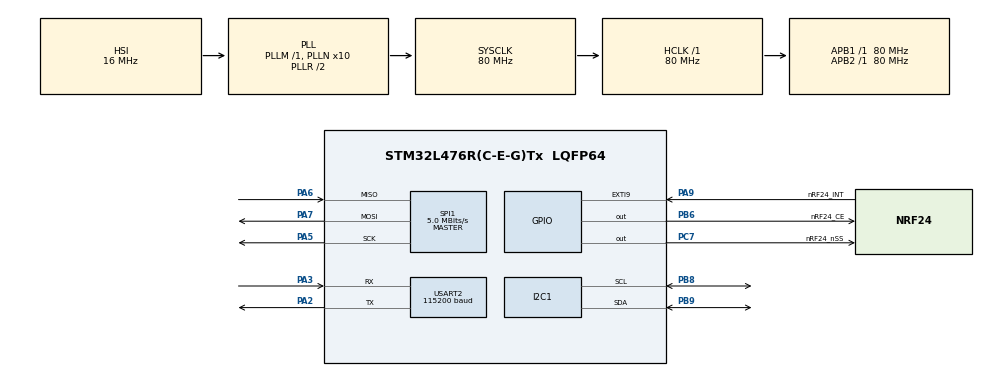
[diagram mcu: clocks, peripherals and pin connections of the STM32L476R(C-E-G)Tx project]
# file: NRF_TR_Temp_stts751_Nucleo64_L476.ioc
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Mcu.Family=STM32L4
Mcu.Name=STM32L476R(C-E-G)Tx
Mcu.Package=LQFP64
NVIC.EXTI9_5_IRQn=true\:0\:0\:false\:false\:true\:true\:true
NVIC.PriorityGroup=NVIC_PRIORITYGROUP_2
PA13\ (JTMS-SWDIO).Mode=Serial_Wire
PA13\ (JTMS-SWDIO).Signal=SYS_JTMS-SWDIO
PA14\ (JTCK-SWCLK).Mode=Serial_Wire
PA14\ (JTCK-SWCLK).Signal=SYS_JTCK-SWCLK
PA2.Mode=Asynchronous
PA2.Signal=USART2_TX
PA3.Mode=Asynchronous
PA3.Signal=USART2_RX
PA5.Mode=Full_Duplex_Master
PA5.Signal=SPI1_SCK
PA6.Mode=Full_Duplex_Master
PA6.Signal=SPI1_MISO
PA7.Mode=Full_Duplex_Master
PA7.Signal=SPI1_MOSI
PA9.GPIO_Label=nRF24_INT
PA9.GPIO_ModeDefaultEXTI=GPIO_MODE_IT_FALLING
PA9.Signal=GPXTI9
PB6.GPIO_Label=nRF24_CE
PB6.GPIO_ModeDefaultOutputPP=GPIO_MODE_OUTPUT_PP
PB6.GPIO_PuPd=GPIO_NOPULL
PB6.GPIO_Speed=GPIO_SPEED_FREQ_VERY_HIGH
PB6.PinState=GPIO_PIN_SET
PB6.Signal=GPIO_Output
PB8.Mode=I2C
PB8.Signal=I2C1_SCL
PB9.Mode=I2C
PB9.Signal=I2C1_SDA
PC7.GPIO_Label=nRF24_nSS
PC7.GPIO_ModeDefaultOutputPP=GPIO_MODE_OUTPUT_PP
PC7.GPIO_PuPd=GPIO_NOPULL
PC7.GPIO_Speed=GPIO_SPEED_FREQ_VERY_HIGH
PC7.PinState=GPIO_PIN_SET
PC7.Signal=GPIO_Output
ProjectManager.HeapSize=0x400
ProjectManager.StackSize=0x600
ProjectManager.TargetToolchain=STM32CubeIDE
RCC.ADCFreq_Value=64000000
RCC.AHBFreq_Value=80000000
RCC.APB1Freq_Value=80000000
RCC.APB1TimFreq_Value=80000000
RCC.APB2Freq_Value=80000000
RCC.APB2TimFreq_Value=80000000
RCC.CortexFreq_Value=80000000
RCC.HCLKFreq_Value=80000000
RCC.HSE_VALUE=8000000
RCC.HSI_VALUE=16000000
RCC.LSE_VALUE=32768
RCC.MSI_VALUE=4000000
RCC.PLLN=10
RCC.PLLSourceVirtual=RCC_PLLSOURCE_HSI
RCC.RCC_TIM_PRescaler_Selection=RCC_TIMPRES_DESACTIVATED
RCC.SYSCLKFreq_VALUE=80000000
RCC.SYSCLKSource=RCC_SYSCLKSOURCE_PLLCLK
RCC.USBFreq_Value=64000000
RCC.VCOOutputFreq_Value=160000000
SPI1.BaudRatePrescaler=SPI_BAUDRATEPRESCALER_16
SPI1.CLKPhase=SPI_PHASE_1EDGE
SPI1.CLKPolarity=SPI_POLARITY_LOW
SPI1.CRCCalculation=SPI_CRCCALCULATION_DISABLE
SPI1.CalculateBaudRate=5.0 MBits/s
SPI1.DataSize=SPI_DATASIZE_8BIT
SPI1.Direction=SPI_DIRECTION_2LINES
SPI1.FirstBit=SPI_FIRSTBIT_MSB
SPI1.Mode=SPI_MODE_MASTER
SPI1.NSS=SPI_NSS_SOFT
SPI1.TIMode=SPI_TIMODE_DISABLE
SPI1.VirtualType=VM_MASTER
USART2.BaudRate=115200
USART2.Mode=MODE_TX_RX
USART2.OverSampling=UART_OVERSAMPLING_16
USART2.Parity=PARITY_NONE
USART2.StopBits=STOPBITS_1
USART2.VirtualMode-Asynchronous=VM_ASYNC
USART2.WordLength=WORDLENGTH_8B
board=STM32F746G-DISCO

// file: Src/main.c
/* USER CODE BEGIN Header */
/**
  ******************************************************************************
  * @file           : main.c
  * @brief          : Main program body
  ******************************************************************************
  * @attention
  *
  * <h2><center>&copy; Copyright (c) 2020 STMicroelectronics.
  * All rights reserved.</center></h2>
  *
  * This software component is licensed by ST under BSD 3-Clause license,
  * the "License"; You may not use this file except in compliance with the
  * License. You may obtain a copy of the License at:
  *                        opensource.org/licenses/BSD-3-Clause
  *
  ******************************************************************************
  */
/* USER CODE END Header */

#include "main.h"
#include "i2c.h"
#include "spi.h"
#include "usart.h"
#include "gpio.h"

/* USER CODE BEGIN Includes */
#include <string.h>
#include <stdio.h>
#include "stts751_reg.h"
#include "nRF24L01P.h"
/* USER CODE END Includes */

/* USER CODE BEGIN PTD */
typedef union{
  int16_t i16bit;
  uint8_t u8bit[2];
} axis1bit16_t;
/* USER CODE END PTD */

/* USER CODE BEGIN PV */
static axis1bit16_t data_raw_temperature;
static float temperature_degC;
static stts751_id_t whoamI;
static char tx_buffer[5];

nRF24L01P myNRF;
const uint8_t RXAddr[5] = {0xE7, 0xE7, 0xE7, 0xE7, 0xE7};
const uint8_t TXAddr[5] = {0xE7, 0xE7, 0xE7, 0xE7, 0xE7};
//char TXData[5];

uint8_t RXBuffer[32], TXBuffer[32];
volatile uint8_t regStatus;
/* USER CODE END PV */

void SystemClock_Config(void);
/* USER CODE BEGIN PFP */
static int32_t platform_write(void *handle, uint8_t reg, uint8_t *bufp,
                              uint16_t len);
static int32_t platform_read(void *handle, uint8_t reg, uint8_t *bufp,
                             uint16_t len);
#ifdef __GNUC__
/* With GCC/RAISONANCE, small printf (option LD Linker->Libraries->Small printf
set to 'Yes') calls __io_putchar() */
#define PUTCHAR_PROTOTYPE int __io_putchar(int ch)
#else
#define PUTCHAR_PROTOTYPE int fputc(int ch, FILE *f)
#endif /* __GNUC__ */
/* USER CODE END PFP */

int main(void)
{
  /* USER CODE BEGIN 1 */
	stmdev_ctx_t dev_ctx;
	dev_ctx.write_reg = platform_write;
	dev_ctx.read_reg = platform_read;
	dev_ctx.handle = &hi2c1;
  /* USER CODE END 1 */

  /* MCU Configuration--------------------------------------------------------*/

  /* Reset of all peripherals, Initializes the Flash interface and the Systick. */
  HAL_Init();

  /* Configure the system clock */
  SystemClock_Config();

  /* Initialize all configured peripherals */
  MX_GPIO_Init();
  MX_SPI1_Init();
  MX_USART2_UART_Init();
  MX_I2C1_Init();
  /* USER CODE BEGIN 2 */
  stts751_device_id_get(&dev_ctx, &whoamI);

  if ( //(whoamI.product_id != STTS751_ID_0xxxx) ||
           (whoamI.product_id != STTS751_ID_1xxxx) ||
             (whoamI.manufacturer_id != STTS751_ID_MAN) ||
             (whoamI.revision_id != STTS751_REV) )
  	  while(1); /* manage here device not found */

   /* Enable interrupt on high(=49.5 degC)/low(=-4.5 degC) temperature. */
   float temperature_high_limit = 49.5f;
   stts751_high_temperature_threshold_set(&dev_ctx, stts751_from_celsius_to_lsb(temperature_high_limit));

   float temperature_low_limit = -4.5f;
   stts751_low_temperature_threshold_set(&dev_ctx, stts751_from_celsius_to_lsb(temperature_low_limit));

   stts751_pin_event_route_set(&dev_ctx,  PROPERTY_ENABLE);

   /* Set Output Data Rate */
   stts751_temp_data_rate_set(&dev_ctx, STTS751_TEMP_ODR_1Hz);

   /* Set Resolution */
   stts751_resolution_set(&dev_ctx, STTS751_11bit);

   myNRF.hspi = &hspi1;														// You should make this definition at CubeMX
   myNRF.CRC_Width = nRF_CRC_WIDTH_HALFWORD;
   myNRF.ADDR_Width = nRF_ADDR_WIDTH_5;
   myNRF.Data_Rate = nRF_DATA_RATE_2MBPS;
   myNRF.TX_Power = nRF_TX_PWR_0dBm;
   myNRF.State = nRF_STATE_TX;

   myNRF.RF_Channel = 120;
   myNRF.PayloadWidth = nRF_RXPW_32BYTES;
   myNRF.RetransmitCount = nRF_RETX_DISABLED;
   myNRF.RetransmitDelay = nRF_RETX_DELAY_1000uS;

   myNRF.RX_Address = (uint8_t *)RXAddr;
   myNRF.TX_Address = (uint8_t *)TXAddr;

   myNRF.RX_Buffer = RXBuffer;
   myNRF.TX_Buffer = TXBuffer;

   myNRF.nRF_nSS_GPIO_PORT = nRF24_nSS_GPIO_Port;	// You should make this definition at CubeMX
   myNRF.nRF_nSS_GPIO_PIN = nRF24_nSS_Pin;					// You should make this definition at CubeMX

   myNRF.nRF_CE_GPIO_PORT = nRF24_CE_GPIO_Port;		// You should make this definition at CubeMX
   myNRF.nRF_CE_GPIO_PIN = nRF24_CE_Pin;						// You should make this definition at CubeMX

   if(HAL_nRF24L01P_Init(&myNRF) != HAL_OK)
   	{
   		printf("nRF24 Init fucked UP!\r\n");
   		//Error_Handler();
   	} else {
   		printf("nRF24 Init is OK!\r\n");

   printf ("Application has started!\r\n");
  /* USER CODE END 2 */

  /* Infinite loop */
  while (1)
  {

    /* USER CODE BEGIN 3 */
	/* Read output only if not busy */
	uint8_t flag;
    stts751_flag_busy_get(&dev_ctx, &flag);

    if (flag)
    {
	/* Read temperature data */
	memset(data_raw_temperature.u8bit, 0, sizeof(int16_t));
	stts751_temperature_raw_get(&dev_ctx, &data_raw_temperature.i16bit);
	temperature_degC = stts751_from_lsb_to_celsius(data_raw_temperature.i16bit);

	sprintf(tx_buffer,"%3.1f",temperature_degC);
	printf("Temperature:  *%s* degres\r\n",tx_buffer);

    if(!myNRF.Busy)
    		{
    			if(HAL_nRF24L01P_TransmitPacket(&myNRF, (uint8_t *)tx_buffer) != HAL_OK)
    			{
    				printf("There was something wrong!\n\r");
    				//Error_Handler();
    			}
    			else
    				printf("Data sent!\r\n");
    		}
    HAL_Delay(1000);
    }
  }
  /* USER CODE END 3 */
}
}
void SystemClock_Config(void)
{
  RCC_OscInitTypeDef RCC_OscInitStruct = {0};
  RCC_ClkInitTypeDef RCC_ClkInitStruct = {0};
  RCC_PeriphCLKInitTypeDef PeriphClkInit = {0};

  /** Initializes the CPU, AHB and APB busses clocks
  */
  RCC_OscInitStruct.OscillatorType = RCC_OSCILLATORTYPE_HSI;
  RCC_OscInitStruct.HSIState = RCC_HSI_ON;
  RCC_OscInitStruct.HSICalibrationValue = RCC_HSICALIBRATION_DEFAULT;
  RCC_OscInitStruct.PLL.PLLState = RCC_PLL_ON;
  RCC_OscInitStruct.PLL.PLLSource = RCC_PLLSOURCE_HSI;
  RCC_OscInitStruct.PLL.PLLM = 1;
  RCC_OscInitStruct.PLL.PLLN = 10;
  RCC_OscInitStruct.PLL.PLLP = RCC_PLLP_DIV7;
  RCC_OscInitStruct.PLL.PLLQ = RCC_PLLQ_DIV2;
  RCC_OscInitStruct.PLL.PLLR = RCC_PLLR_DIV2;
  if (HAL_RCC_OscConfig(&RCC_OscInitStruct) != HAL_OK)
  {
    Error_Handler();
  }
  /** Initializes the CPU, AHB and APB busses clocks
  */
  RCC_ClkInitStruct.ClockType = RCC_CLOCKTYPE_HCLK|RCC_CLOCKTYPE_SYSCLK
                              |RCC_CLOCKTYPE_PCLK1|RCC_CLOCKTYPE_PCLK2;
  RCC_ClkInitStruct.SYSCLKSource = RCC_SYSCLKSOURCE_PLLCLK;
  RCC_ClkInitStruct.AHBCLKDivider = RCC_SYSCLK_DIV1;
  RCC_ClkInitStruct.APB1CLKDivider = RCC_HCLK_DIV1;
  RCC_ClkInitStruct.APB2CLKDivider = RCC_HCLK_DIV1;

  if (HAL_RCC_ClockConfig(&RCC_ClkInitStruct, FLASH_LATENCY_4) != HAL_OK)
  {
    Error_Handler();
  }
  PeriphClkInit.PeriphClockSelection = RCC_PERIPHCLK_USART2|RCC_PERIPHCLK_I2C1;
  PeriphClkInit.Usart2ClockSelection = RCC_USART2CLKSOURCE_PCLK1;
  PeriphClkInit.I2c1ClockSelection = RCC_I2C1CLKSOURCE_PCLK1;
  if (HAL_RCCEx_PeriphCLKConfig(&PeriphClkInit) != HAL_OK)
  {
    Error_Handler();
  }
  /** Configure the main internal regulator output voltage
  */
  if (HAL_PWREx_ControlVoltageScaling(PWR_REGULATOR_VOLTAGE_SCALE1) != HAL_OK)
  {
    Error_Handler();
  }
}

/* USER CODE BEGIN 4 */
static int32_t platform_write(void *handle, uint8_t reg, uint8_t *bufp,
                              uint16_t len)
{
  if (handle == &hi2c1)
  {
    HAL_I2C_Mem_Write(handle, STTS751_1xxxx_ADD_7K5, reg,
                      I2C_MEMADD_SIZE_8BIT, bufp, len, 1000);
  }
  return 0;
}
static int32_t platform_read(void *handle, uint8_t reg, uint8_t *bufp,
                             uint16_t len)
{
  if (handle == &hi2c1)
  {
    HAL_I2C_Mem_Read(handle, STTS751_1xxxx_ADD_7K5, reg,
                     I2C_MEMADD_SIZE_8BIT, bufp, len, 1000);
  }
  return 0;
}

PUTCHAR_PROTOTYPE
{
/* Place your implementation of fputc here */
/* e.g. write a character to the USART1 and Loop until the end of transmission */
HAL_UART_Transmit(&huart2, (uint8_t *)&ch, 1, 100);

return ch;
}

void HAL_GPIO_EXTI_Callback(uint16_t GPIO_Pin)
{
	if(GPIO_Pin == nRF24_INT_Pin)
	{
		//printf("Interrupt OK!\n\r");
		if(HAL_nRF24L01P_IRQ_Handler(&myNRF) != HAL_OK)
		{
			Error_Handler();
		}
	 }
		//myNRF.Busy = 1;
		//HAL_nRF24L01P_ReadRegister(&myNRF, nRF_STATUS, &regStatus);
		//printf("Status >");
		//HAL_UART_Transmit(&huart1, &regStatus, 1, 250);
		//uartSent = 1;
 }
/* USER CODE END 4 */

void Error_Handler(void)
{
}

/************************ (C) COPYRIGHT STMicroelectronics *****END OF FILE****/
